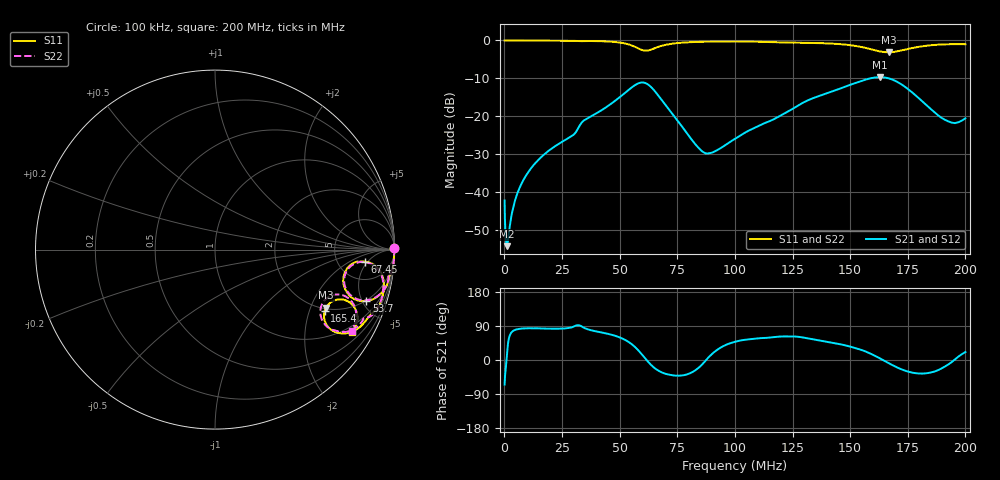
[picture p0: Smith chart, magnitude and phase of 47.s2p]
#  HZ  S  RI  R  50.00
! Rohde & Schwarz Vector Network Analyzer
! Rohde-Schwarz,ZNLE6-2Port,1323001256200024,1.71.1.10-23.02.1.238
! Created: UTC 4/7/2025, 2:24:06 AM
! freq[Hz]  re:S11  im:S11  re:S21  im:S21  re:S12  im:S12  re:S22  im:S22
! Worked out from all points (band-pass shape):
!   1001 points, 100 kHz to 200 MHz, reference 50 ohm
!   highest |S21| = -9.68 dB at 162.9 MHz (marker M1); lowest = -54.2 dB at 1.071 MHz (marker M2)
!   |S21| within 3 dB of the highest: 54.61 MHz to 64.29 MHz (9.678 MHz wide, 16.3 % of centre); 145.7 MHz to 174.8 MHz (29.17 MHz wide, 18.2 % of centre)
!   lowest |S11| = -3.1 dB at 166.6 MHz (marker M3), VSWR 5.62, Z = 103 - j129 ohm
!   |S11| at or under -10 dB: nowhere
!   |S22| runs from -3.5 to 0.0 dB; largest |S21 - S12| = 0.0073
!   S11 on the Smith chart (normalised r, x): 100 kHz: open; 53.7 MHz: 1.94, -5.36; 67.45 MHz: 9, -4; 165.4 MHz: 1.90, -2.55; 200 MHz: 0.77, -3.44
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100000  0.9968 0.00691  0.00331 -0.00707  0.00332 -0.00709  0.9967 0.00676
355854.1  0.9972 0.00122  0.00278 -0.00213  0.00278 -0.00214  0.9973 0.00119
1071325  0.9981 -0.00314  0.00192 0.000389  0.00192 0.000389  0.9981 -0.00315
1266322  0.9982 -0.00409  0.00181 0.000874  0.00181 0.000879  0.9982 -0.00415
4472136  0.9983 -0.0191  0.00143 0.00739  0.00148 0.00739  0.9983 -0.0195
1.591428e7  0.9953 -0.0697  0.00339 0.0288  0.00357 0.0287  0.9953 -0.0713
2.945577e7  0.9782 -0.1392  0.00319 0.0555  0.00322 0.0554  0.9735 -0.1415
4.406817e7  0.946 -0.2189  0.0445 0.1236  0.0463 0.1222  0.9469 -0.2151
5.369722e7  0.8428 -0.2868  0.1467 0.1649  0.149 0.1615  0.8462 -0.2823
5.663162e7  0.7762 -0.2757  0.2121 0.1459  0.214 0.1415  0.7814 -0.2715
6.157017e7  0.718 -0.1431  0.2711 0.00397  0.271 0.00225  0.7229 -0.1452
6.745012e7  0.8333 -0.0667  0.1529 -0.0891  0.1505 -0.0945  0.835 -0.0696
8.408385e7  0.9398 -0.1792  0.0363 -0.0142  0.0361 -0.0152  0.9371 -0.1868
8.93554e7  0.9409 -0.2114  0.0322 0.0067  0.0326 0.00593  0.9376 -0.2203
1.229601e8  0.8622 -0.3668  0.0536 0.102  0.0547 0.1013  0.8405 -0.3802
1.4424e8  0.779 -0.4504  0.1627 0.1535  0.1629 0.1501  0.7677 -0.4461
1.628929e8  0.6078 -0.3799  0.3272 0.0253  0.3251 0.0184  0.5882 -0.3667
1.653881e8  0.6107 -0.3413  0.3227 -0.022  0.32 -0.0288  0.5889 -0.3247
1.6665e8  0.6184 -0.3232  0.3138 -0.0448  0.3108 -0.0514  0.5961 -0.3043
1.757569e8  0.7274 -0.2823  0.188 -0.1158  0.1844 -0.1209  0.712 -0.254
1.896369e8  0.7925 -0.3906  0.0886 -0.0364  0.0879 -0.0393  0.7869 -0.372
2e8  0.763 -0.4596  0.088 0.0337  0.0897 0.0316  0.7634 -0.4519
